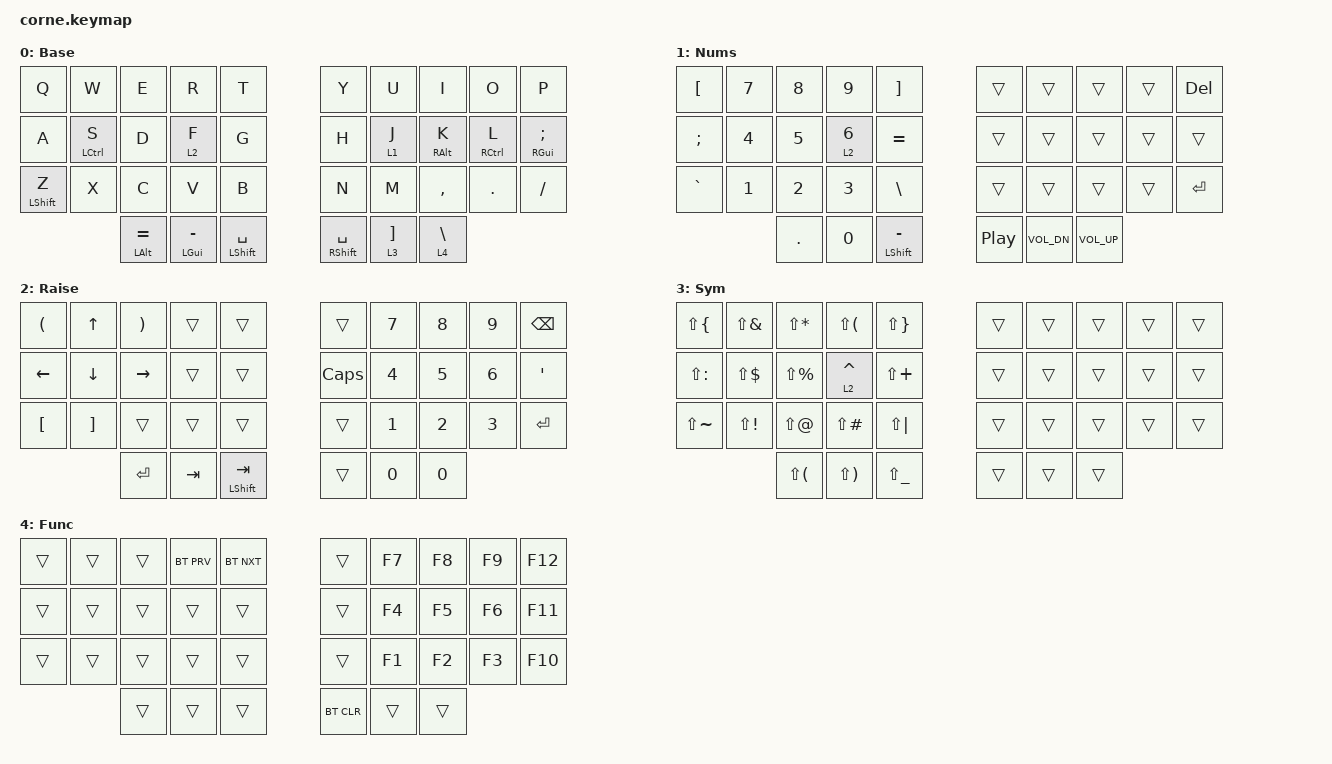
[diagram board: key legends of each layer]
/*
 * Copyright (c) 2020 The ZMK Contributors
 *
 * SPDX-License-Identifier: MIT
 */

#include <behaviors.dtsi>
#include <dt-bindings/zmk/bt.h>
#include <dt-bindings/zmk/keys.h>

&mt {
    tapping-term-ms = <300>;
    flavor = "balanced";
};

/ {
    combos {
        compatible = "zmk,combos";

        escape_corner {  // esc on the bottom row, left
            bindings = <&kp ESC>;
            key-positions = <30 31>;
        };

        tab {
            bindings = <&kp LG(TAB)>;
            key-positions = <10 31>;
        };
    };

    keymap {
        compatible = "zmk,keymap";

        base {
            display-name = "Base";
            bindings = <
&kp Q             &kp W               &kp E               &kp R               &kp T                   &kp Y                  &kp U                &kp I            &kp O                &kp P               
&kp A             &mt LEFT_CONTROL S  &kp D               &lt 2 F             &kp G                   &kp H                  &lt 1 J              &mt RIGHT_ALT K  &mt RIGHT_CONTROL L  &mt RIGHT_GUI SEMI 
&mt LEFT_SHIFT Z  &kp X               &kp C               &kp V               &kp B                   &kp N                  &kp M                &kp COMMA        &kp DOT              &kp FSLH          
                                      &mt LEFT_ALT EQUAL  &mt LEFT_GUI MINUS  &mt LEFT_SHIFT SPACE    &mt RIGHT_SHIFT SPACE  &lt 3 RIGHT_BRACKET  &lt 4 BACKSLASH
              >;
        };

        nums {
            display-name = "Nums";
            bindings = <
&kp LBKT   &kp N7  &kp N8   &kp N9    &kp RBKT            &trans            &trans        &trans        &trans  &kp DELETE  
&kp SEMI   &kp N4  &kp N5   &lt 2 N6  &kp EQUAL           &trans            &trans        &trans        &trans  &trans     
&kp GRAVE  &kp N1  &kp N2   &kp N3    &kp BSLH            &trans            &trans        &trans        &trans  &kp RET   
                   &kp DOT  &kp N0    &mt LSHIFT MINUS    &kp C_PLAY_PAUSE  &kp C_VOL_DN  &kp C_VOL_UP
            >;
        };
        
        raise {
            display-name = "Raise";
            bindings = <
&kp LPAR          &kp UP             &kp RPAR   &trans   &trans                &trans    &kp N7  &kp N8  &kp N9  &kp BACKSPACE  
&kp LEFT          &kp DOWN_ARROW     &kp RIGHT  &trans   &trans                &kp CAPS  &kp N4  &kp N5  &kp N6  &kp SQT        
&kp LEFT_BRACKET  &kp RIGHT_BRACKET  &trans     &trans   &trans                &trans    &kp N1  &kp N2  &kp N3  &kp ENTER      
                                             &kp RET    &kp TAB  &mt LEFT_SHIFT TAB    &trans    &kp N0  &kp N0
            >;
        };

        sym {
            display-name = "Sym";
            bindings = <
&kp LS(LBRC)   &kp LS(AMPS)  &kp LS(STAR)   &kp LS(LPAR)   &kp LS(RBRC)     &trans  &trans  &trans  &trans  &trans 
&kp LS(COLON)  &kp LS(DLLR)  &kp LS(PRCNT)  &lt 2 CARET    &kp LS(PLUS)     &trans  &trans  &trans  &trans  &trans  
&kp LS(TILDE)  &kp LS(EXCL)  &kp LS(AT)     &kp LS(POUND)  &kp LS(PIPE)     &trans  &trans  &trans  &trans  &trans  
                             &kp LS(LPAR)   &kp LS(RPAR)   &kp LS(UNDER)    &trans  &trans  &trans
            >;
        };

        func {
            display-name = "Func";
            bindings = <
&trans  &trans  &trans  &bt BT_PRV  &bt BT_NXT    &trans      &kp F7  &kp F8  &kp F9  &kp F12  
&trans  &trans  &trans  &trans      &trans        &trans      &kp F4  &kp F5  &kp F6  &kp F11  
&trans  &trans  &trans  &trans      &trans        &trans      &kp F1  &kp F2  &kp F3  &kp F10  
                &trans  &trans      &trans        &bt BT_CLR  &trans  &trans
            >;
        };
    };
};
